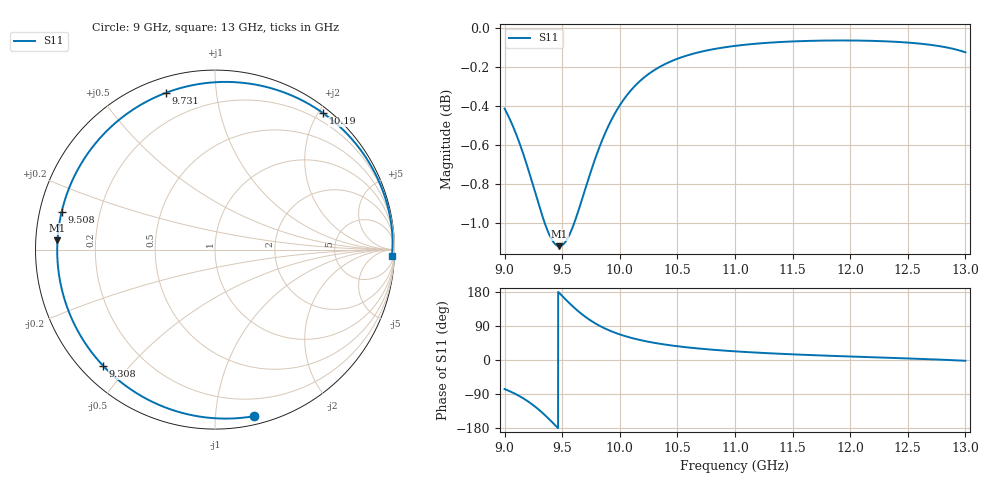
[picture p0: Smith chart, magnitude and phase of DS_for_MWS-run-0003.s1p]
! TOUCHSTONE file generated by CST DESIGN STUDIO
! Date and time: Wed Feb  5 13:39:07 2025
! Project name: C:\Work\MatlabApps\UnitCellOptimizationMatlab\CST\unitcell.cst
! Tree item: Tasks\Sweep1\SPara1\S-Parameters
! Header version: 2024
! Port assignment regex: !\s*Touchstone port\s*([0-9]+)\s*=\s*(CST MWS port|CST DES external port|CST DES block port)\s*(.+)\s* \(\"(.*)\"\)(\s*mode\s*([0-9]+))?.*
! Touchstone port assignment:
! Touchstone port 1 = CST DES external port 1 ("")
# GHz S MA R 50
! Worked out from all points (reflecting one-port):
!   4001 points, 9 GHz to 13 GHz, reference 50 ohm
!   lowest |S11| = -1.1 dB at 9.475 GHz (marker M1), VSWR 15.54, Z = 3.22 + j1.47 ohm
!   phase of S11 starts at -77 deg and turns -285 deg over the sweep
!   S11 on the Smith chart (normalised r, x): 9 GHz: 0.06, -1.26; 9.308 GHz: 0.06, -0.42; 9.508 GHz: 0.06, +0.12; 9.731 GHz: 0.07, +0.73; 10.19 GHz: 0.08, +2.07; 13 GHz: 20, -48
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9  0.9534 -76.7
9.077  0.9428 -87.0
9.175  0.9258 -103.7
9.244  0.9118 -118.2
9.308  0.8987 -134.0
9.351  0.8907 -145.7
9.398  0.8838 -159.6
9.437  0.8803 -171.5
9.475  0.8791 176.6
9.5  0.8796 168.8
9.508  0.88 166.3
9.56  0.8847 150.6
9.621  0.8941 133.5
9.675  0.9043 119.9
9.731  0.9153 107.4
9.784  0.9252 97.2
9.844  0.9353 87.2
9.92  0.9461 76.6
10  0.9553 67.5
10.092  0.9634 59.0
10.194  0.9701 51.5
10.334  0.9767 43.5
10.5  0.9818 36.3
11  0.9893 22.8
11.5  0.9919 14.9
12  0.9925 9.2
12.5  0.9912 4.1
13  0.9856 -2.0
